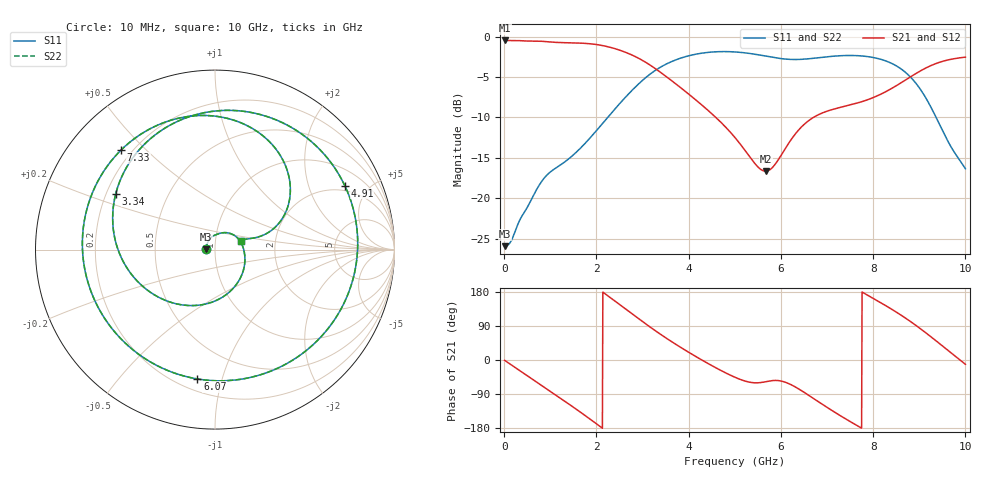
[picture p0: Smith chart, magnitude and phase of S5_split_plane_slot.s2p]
! kicad_em_sim: S-parameters of 2 ports, openEMS
# Hz S RI R 50
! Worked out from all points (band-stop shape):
!   1000 points, 10 MHz to 10 GHz, reference 50 ohm
!   highest |S21| = -0.48 dB at 10 MHz (marker M1); lowest = -16.6 dB at 5.67 GHz (marker M2)
!   |S21| within 3 dB of the highest: start of sweep to 3.152 GHz; 9.296 GHz to end of sweep
!   lowest |S11| = -25.9 dB at 10 MHz (marker M3), VSWR 1.11, Z = 45.2 + j0.223 ohm
!   |S11| at or under -10 dB: start of sweep to 2.242 GHz; 9.366 GHz to end of sweep
!   |S22| runs from -25.9 to -1.9 dB; largest |S21 - S12| = 1.4e-07
!   S11 on the Smith chart (normalised r, x): 10 MHz: 0.90, +0.00; 3.34 GHz: 0.24, +0.25; 4.91 GHz: 1.71, +3.50; 6.07 GHz: 0.27, -0.84; 7.33 GHz: 0.16, +0.42; 10 GHz: 1.33, +0.13
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1e7  -0.0506 0.00246  0.9462 -0.0138  0.9462 -0.0138  -0.0506 0.00246
4.1e8  -0.00269 0.0798  0.7794 -0.5268  0.7794 -0.5268  -0.00269 0.0798
8.9e8  0.1125 0.0761  0.2579 -0.8955  0.2579 -0.8955  0.1125 0.0761
1.29e9  0.1646 -0.0227  -0.2656 -0.8779  -0.2656 -0.8779  0.1646 -0.0227
1.68e9  0.1464 -0.1476  -0.6969 -0.586  -0.6969 -0.586  0.1464 -0.1476
2.15e9  -0.0197 -0.2939  -0.8777 0.0274  -0.8777 0.0274  -0.0197 -0.2939
2.65e9  -0.3519 -0.2432  -0.5415 0.5832  -0.5415 0.5832  -0.3519 -0.2432
2.98e9  -0.5295 -0.0281  -0.1632 0.6988  -0.1632 0.6988  -0.5295 -0.0281
3.34e9  -0.5528 0.3117  0.1906 0.5856  0.1906 0.5856  -0.5528 0.3117
4.15e9  0.0568 0.7757  0.4015 0.0677  0.4015 0.0677  0.0568 0.7757
4.91e9  0.723 0.3569  0.1945 -0.1655  0.1945 -0.1655  0.723 0.3569
5.01e9  0.7656 0.2439  0.1647 -0.17  0.1647 -0.17  0.7656 0.2439
5.35e9  0.7605 -0.193  0.0906 -0.1517  0.0906 -0.1517  0.7605 -0.193
5.67e9  0.4976 -0.5709  0.0796 -0.1239  0.0796 -0.1239  0.4976 -0.5709
6.07e9  -0.0984 -0.7206  0.106 -0.1673  0.106 -0.1673  -0.0984 -0.7206
6.67e9  -0.718 -0.1442  -0.0465 -0.3084  -0.0465 -0.3084  -0.718 -0.1442
7.33e9  -0.5223 0.5556  -0.3184 -0.1837  -0.3184 -0.1837  -0.5223 0.5556
7.82e9  -0.1363 0.7434  -0.4002 0.0335  -0.4002 0.0335  -0.1363 0.7434
8.34e9  0.2454 0.6506  -0.3503 0.3094  -0.3503 0.3094  0.2454 0.6506
9.21e9  0.3567 0.1478  0.2724 0.594  0.2724 0.594  0.3567 0.1478
9.64e9  0.2109 0.0638  0.6584 0.2891  0.6584 0.2891  0.2109 0.0638
1e10  0.1451 0.047  0.7318 -0.1469  0.7318 -0.1469  0.1451 0.047
